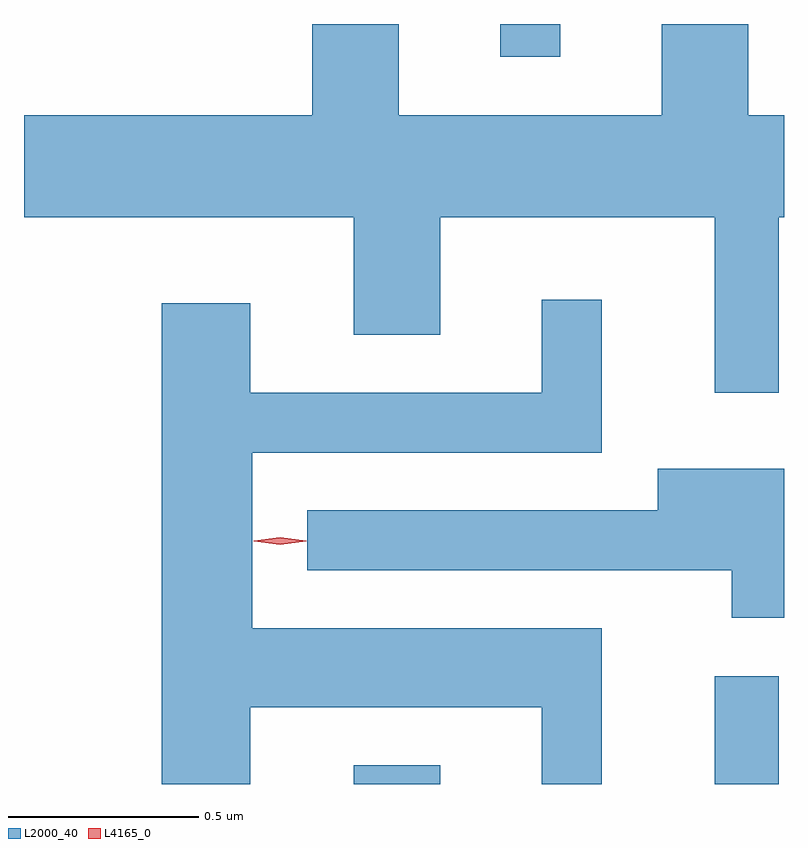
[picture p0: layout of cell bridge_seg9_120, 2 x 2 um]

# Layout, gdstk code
import gdstk
lib = gdstk.Library(unit=1e-6, precision=1e-09)
def R(c, l, rs):  # rectangles x0, y0, x1, y1
    for r in rs: c.add(gdstk.rectangle(r[:2], r[2:], *l))
def P(c, l, *ps):  # polygons
    for p in ps: c.add(gdstk.Polygon(p, *l))
L2000_40 = (2000, 40)
L4165_0 = (4165, 0)

bridge_seg9_120 = lib.new_cell('bridge_seg9_120')
R(bridge_seg9_120, L2000_40, [(1822.711,1968.124,1822.939,1968.174), (1823.661,1968.124,1823.829,1968.408), (1823.096,1970.038,1823.254,1970.124)])
P(bridge_seg9_120, L2000_40, [(1823.829,1969.616),(1823.843,1969.616),(1823.843,1969.884),(1823.749,1969.884),(1823.749,1970.124),(1823.521,1970.124),(1823.521,1969.884),(1822.829,1969.884),(1822.829,1970.124),(1822.601,1970.124),(1822.601,1969.884),(1821.843,1969.884),(1821.843,1969.616),(1822.711,1969.616),(1822.711,1969.306),(1822.939,1969.306),(1822.939,1969.616),(1823.661,1969.616),(1823.661,1969.153),(1823.829,1969.153)],
  [(1822.439,1968.326),(1823.206,1968.326),(1823.206,1968.124),(1823.364,1968.124),(1823.364,1968.534),(1822.444,1968.534),(1822.444,1968.996),(1823.364,1968.996),(1823.364,1969.398),(1823.206,1969.398),(1823.206,1969.154),(1822.439,1969.154),(1822.439,1969.389),(1822.206,1969.389),(1822.206,1968.124),(1822.439,1968.124)],
  [(1823.843,1968.954),(1823.511,1968.954),(1823.511,1968.844),(1822.588,1968.844),(1822.588,1968.686),(1823.706,1968.686),(1823.706,1968.561),(1823.843,1968.561)])
P(bridge_seg9_120, L4165_0, [(1822.517,1968.753),(1822.448,1968.763),(1822.447,1968.763),(1822.448,1968.764),(1822.517,1968.773),(1822.586,1968.764),(1822.586,1968.763),(1822.586,1968.763)],
  [(1822.517,1968.753),(1822.451,1968.763),(1822.45,1968.763),(1822.451,1968.764),(1822.517,1968.773),(1822.582,1968.764),(1822.583,1968.763),(1822.582,1968.763)])

lib.write_gds('bridge_seg9_120.gds')
